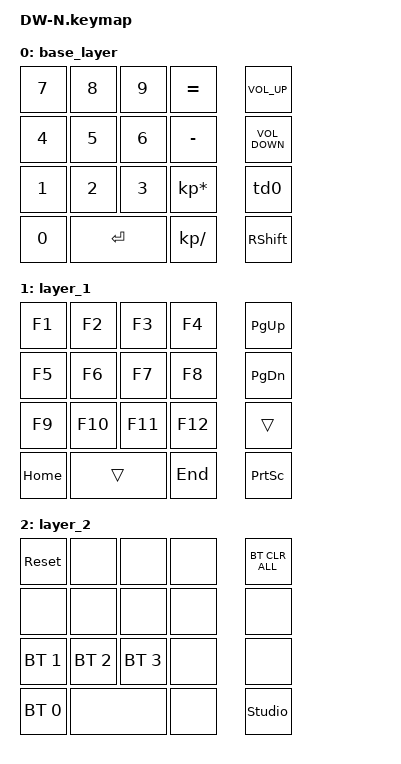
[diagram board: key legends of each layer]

#include <behaviors.dtsi>
#include <dt-bindings/zmk/keys.h>
#include <dt-bindings/zmk/bt.h>

/ {
behaviors {
        td0: tap_dance_0 {
            compatible = "zmk,behavior-tap-dance";
            #binding-cells = <0>;
            tapping-term-ms = <200>;
            bindings = <&mo 1>, <&mo 2>;
        };
    };
   
    keymap {
        compatible = "zmk,keymap";
            
        base_layer {
            display-name = "base_layer";
            bindings = < 
                &kp N7     &kp N8     &kp N9     &kp EQUAL           &kp C_VOLUME_UP
                &kp N4     &kp N5     &kp N6     &kp MINUS           &kp C_VOLUME_DOWN
                &kp N1     &kp N2     &kp N3     &kp KP_MULTIPLY     &td0
                &kp N0           &kp RET         &kp KP_DIVIDE       &kp RSHIFT
            >;
        }; 
        
        layer_1 {
            display-name = "layer_1";
            bindings = <
                &kp F1                &kp F2           &kp F3           &kp F4     &kp PAGE_UP
                &kp F5                &kp F6           &kp F7           &kp F8     &kp PAGE_DOWN
                &kp F9                &kp F10          &kp F11          &kp F12    &trans
                &kp HOME                          &trans                &kp END    &kp PSCRN  
            >;
        };  

        layer_2 {
            display-name = "layer_2";
            bindings = <
                &sys_reset            &none            &none            &none     &bt BT_CLR_ALL
                &none                 &none            &none            &none     &none
                &bt BT_SEL 1          &bt BT_SEL 2     &bt BT_SEL 3     &none     &none
                &bt BT_SEL 0          &none                             &none     &studio_unlock  
            >;
        };
        
        extra_layer_3 {
            status = "reserved";
        };
        
        extra_layer_4 {
            status = "reserved";
        };

    };
};
